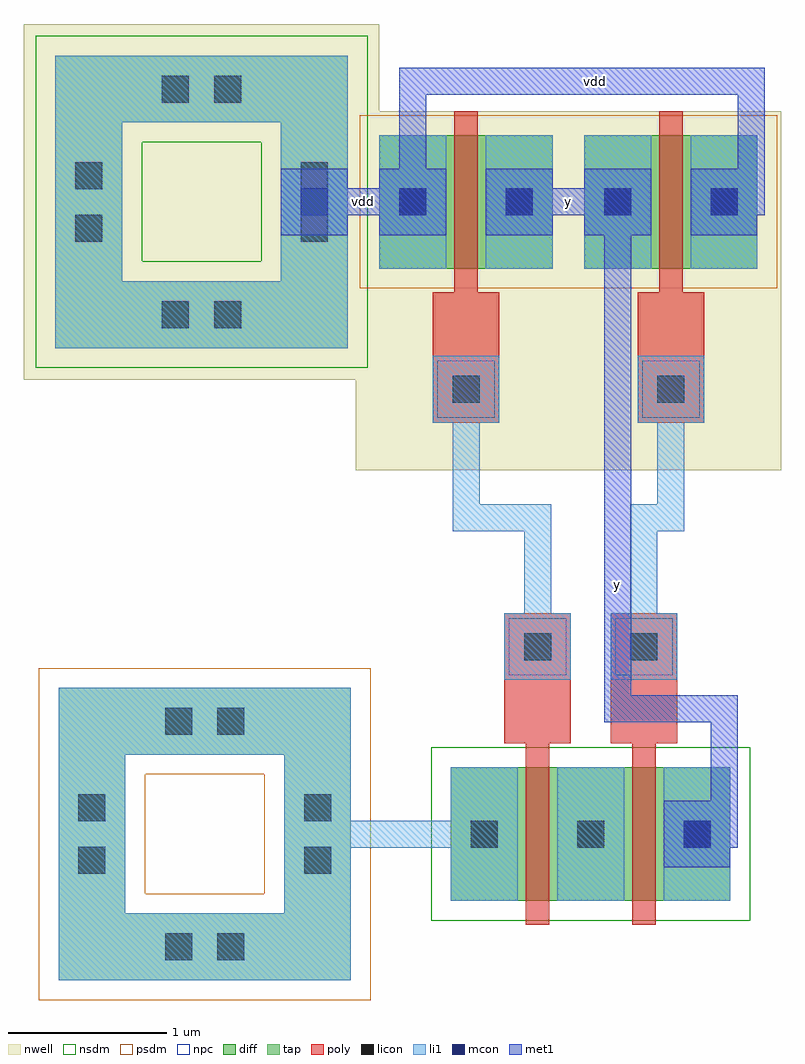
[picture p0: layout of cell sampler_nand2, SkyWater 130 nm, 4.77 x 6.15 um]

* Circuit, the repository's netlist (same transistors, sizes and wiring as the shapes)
* extracted by klt extract --deck sky130

* cell sampler_nand2
* pin a
* pin en
* pin mnab_y,mpa_y,mpb_y,y
* pin mpa_py,mpb_py,nwell_vdd,vdd
* pin vss
.SUBCKT sampler_nand2 a en mnab_y|mpa_y|mpb_y|y mpa_py|mpb_py|nwell_vdd|vdd vss
* device instance $1 r0 *1 4.035,0.21 nfet
M$1 \$2 en vss vss nfet L=0.15U W=0.84U AS=0.3948P AD=0.2184P PS=2.62U PD=1.36U
* device instance $2 r0 *1 4.705,0.21 nfet
M$2 mnab_y|mpa_y|mpb_y|y a \$2 vss nfet L=0.15U W=0.84U AS=0.2184P AD=0.3948P
+ PS=1.36U PD=2.62U
* device instance $3 r0 *1 3.585,4.19 pfet
M$3 mnab_y|mpa_y|mpb_y|y en mpa_py|mpb_py|nwell_vdd|vdd
+ mpa_py|mpb_py|nwell_vdd|vdd pfet L=0.15U W=0.84U AS=0.3948P AD=0.3948P
+ PS=2.62U PD=2.62U
* device instance $4 r0 *1 4.875,4.19 pfet
M$4 mpa_py|mpb_py|nwell_vdd|vdd a mnab_y|mpa_y|mpb_y|y
+ mpa_py|mpb_py|nwell_vdd|vdd pfet L=0.15U W=0.84U AS=0.3948P AD=0.3948P
+ PS=2.62U PD=2.62U
.ENDS sampler_nand2

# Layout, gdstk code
from math import pi, radians
import gdstk
lib = gdstk.Library(unit=1e-6, precision=1e-09)
def R(c, l, rs):  # rectangles x0, y0, x1, y1
    for r in rs: c.add(gdstk.rectangle(r[:2], r[2:], *l))
def A(c, l, x, y, w, h, nx, ny, dx, dy):  # array of equal rectangles
    R(c, l, [(x+i*dx, y+j*dy, x+i*dx+w, y+j*dy+h) for i in range(nx) for j in range(ny)])
def P(c, l, *ps):  # polygons
    for p in ps: c.add(gdstk.Polygon(p, *l))
nwell = (64, 20)
diff = (65, 20)
tap = (65, 44)
poly = (66, 20)
licon = (66, 44)
li1 = (67, 20)
mcon = (67, 44)
met1 = (68, 20)
nsdm = (93, 44)
psdm = (94, 20)
npc = (95, 20)

mos_array_2 = lib.new_cell('mos_array$2')
R(mos_array_2, diff, [(0,0,1.76,0.84)])
R(mos_array_2, poly, [(0.47,-0.15,0.62,0.84), (1.14,-0.15,1.29,0.84), (0.47,0.84,0.62,0.99), (0.47,0.84,0.62,0.99), (1.14,0.84,1.29,0.99), (1.14,0.84,1.29,0.99), (0.335,0.99,0.755,1.81), (1.005,0.99,1.425,1.81)])
A(mos_array_2, licon, 0.125, 0.335, 0.17, 0.17, 3, 1, 0.67, 0)
R(mos_array_2, licon, [(0.46,1.515,0.63,1.685), (1.13,1.515,1.3,1.685)])
A(mos_array_2, li1, 0, 0, 0.42, 0.84, 3, 1, 0.67, 0)
R(mos_array_2, li1, [(0.335,1.39,0.755,1.81), (1.005,1.39,1.425,1.81)])
R(mos_array_2, nsdm, [(-0.125,-0.125,1.885,0.965)])
R(mos_array_2, npc, [(0.365,1.42,0.725,1.78), (1.035,1.42,1.395,1.78)])

mnab__mnab = lib.new_cell('mnab__mnab')
mnab__mnab.add(gdstk.Reference(mos_array_2, (0,0)))

guard_ring_1 = lib.new_cell('guard_ring$1')
P(guard_ring_1, tap, [(0,0),(0,1.42),(0.42,1.42),(0.42,0.42),(1.42,0.42),(1.42,1.42),(0,1.42),(0,1.84),(1.84,1.84),(1.84,0)])
R(guard_ring_1, licon, [(0.67,0.125,0.84,0.295), (1,0.125,1.17,0.295), (0.125,0.67,0.295,0.84), (1.545,0.67,1.715,0.84), (0.125,1,0.295,1.17), (1.545,1,1.715,1.17), (0.67,1.545,0.84,1.715), (1,1.545,1.17,1.715)])
P(guard_ring_1, li1, [(0,0),(0,1.42),(0.42,1.42),(0.42,0.42),(1.42,0.42),(1.42,1.42),(0,1.42),(0,1.84),(1.84,1.84),(1.84,0)])
P(guard_ring_1, psdm, [(-0.125,-0.125),(-0.125,1.295),(0.545,1.295),(0.545,0.545),(1.295,0.545),(1.295,1.295),(-0.125,1.295),(-0.125,1.965),(1.965,1.965),(1.965,-0.125)])

psub_tap__psub_tap = lib.new_cell('psub_tap__psub_tap')
psub_tap__psub_tap.add(gdstk.Reference(guard_ring_1, (0,0)))

mos_array_1 = lib.new_cell('mos_array$1')
R(mos_array_1, nwell, [(-0.15,-0.15,1.24,2.11)])
R(mos_array_1, diff, [(0,0,1.09,0.84)])
R(mos_array_1, poly, [(0.47,-0.15,0.62,0.84), (0.47,0.84,0.62,0.99), (0.47,0.84,0.62,0.99), (0.335,0.99,0.755,1.81)])
R(mos_array_1, licon, [(0.125,0.335,0.295,0.505), (0.795,0.335,0.965,0.505), (0.46,1.515,0.63,1.685)])
R(mos_array_1, li1, [(0,0,0.42,0.84), (0.67,0,1.09,0.84), (0.335,1.39,0.755,1.81)])
R(mos_array_1, psdm, [(-0.125,-0.125,1.215,0.965)])
R(mos_array_1, npc, [(0.365,1.42,0.725,1.78)])

mpb__mpb = lib.new_cell('mpb__mpb')
mpb__mpb.add(gdstk.Reference(mos_array_1, (0,0)))

mos_array = lib.new_cell('mos_array')
R(mos_array, nwell, [(-0.15,-0.15,1.24,2.11)])
R(mos_array, diff, [(0,0,1.09,0.84)])
R(mos_array, poly, [(0.47,-0.15,0.62,0.84), (0.47,0.84,0.62,0.99), (0.47,0.84,0.62,0.99), (0.335,0.99,0.755,1.81)])
R(mos_array, licon, [(0.125,0.335,0.295,0.505), (0.795,0.335,0.965,0.505), (0.46,1.515,0.63,1.685)])
R(mos_array, li1, [(0,0,0.42,0.84), (0.67,0,1.09,0.84), (0.335,1.39,0.755,1.81)])
R(mos_array, psdm, [(-0.125,-0.125,1.215,0.965)])
R(mos_array, npc, [(0.365,1.42,0.725,1.78)])

mpa__mpa = lib.new_cell('mpa__mpa')
mpa__mpa.add(gdstk.Reference(mos_array, (0,0)))

guard_ring = lib.new_cell('guard_ring')
R(guard_ring, nwell, [(-0.2,-0.2,2.04,2.04)])
P(guard_ring, tap, [(0,0),(0,1.42),(0.42,1.42),(0.42,0.42),(1.42,0.42),(1.42,1.42),(0,1.42),(0,1.84),(1.84,1.84),(1.84,0)])
R(guard_ring, licon, [(0.67,0.125,0.84,0.295), (1,0.125,1.17,0.295), (0.125,0.67,0.295,0.84), (1.545,0.67,1.715,0.84), (0.125,1,0.295,1.17), (1.545,1,1.715,1.17), (0.67,1.545,0.84,1.715), (1,1.545,1.17,1.715)])
P(guard_ring, li1, [(0,0),(0,1.42),(0.42,1.42),(0.42,0.42),(1.42,0.42),(1.42,1.42),(0,1.42),(0,1.84),(1.84,1.84),(1.84,0)])
P(guard_ring, nsdm, [(-0.125,-0.125),(-0.125,1.295),(0.545,1.295),(0.545,0.545),(1.295,0.545),(1.295,1.295),(-0.125,1.295),(-0.125,1.965),(1.965,1.965),(1.965,-0.125)])

nwell_tap__nwell_tap = lib.new_cell('nwell_tap__nwell_tap')
nwell_tap__nwell_tap.add(gdstk.Reference(guard_ring, (0,0)))

core__core = lib.new_cell('core__core')
R(core__core, li1, [(3.825,1.39,4.245,1.56), (4.495,1.39,4.915,1.56), (3.375,2.84,3.795,3.01), (4.665,2.84,5.085,3.01)])
core__core.add(gdstk.FlexPath([(3.585,3.01),(3.585,2.2),(4.035,2.2),(4.035,1.39)], 0.17, ends="flush", simple_path=True, layer=67, datatype=20))  # li1
core__core.add(gdstk.FlexPath([(4.875,3.01),(4.875,2.2),(4.705,2.2),(4.705,1.39)], 0.17, ends="flush", simple_path=True, layer=67, datatype=20))  # li1
core__core.add(gdstk.FlexPath([(2.65,0.21),(3.7,0.21)], 0.17, ends="flush", simple_path=True, layer=67, datatype=20))  # li1
core__core.add(gdstk.Reference(mnab__mnab, (3.49,-0.21)))
core__core.add(gdstk.Reference(psub_tap__psub_tap, (1.02,-0.71)))
core__core.add(gdstk.Reference(mpb__mpb, (5.42,4.61), rotation=pi))
core__core.add(gdstk.Reference(mpa__mpa, (3.04,4.61), x_reflection=True))
core__core.add(gdstk.Reference(nwell_tap__nwell_tap, (1,3.27)))
core__core.add(gdstk.Label('en', (3.81,2.2), layer=67, texttype=5))
core__core.add(gdstk.Label('a', (4.79,2.2), layer=67, texttype=5))
core__core.add(gdstk.Label('vss', (3.175,0.21), layer=67, texttype=5))
core__core.add(gdstk.Label('nwell_vdd', (2.63,4.19), layer=67, texttype=5))
core__core.add(gdstk.Label('mpa_py', (3.25,4.19), layer=67, texttype=5))
core__core.add(gdstk.Label('mpb_py', (5.21,4.19), layer=67, texttype=5))
core__core.add(gdstk.Label('mpa_y', (3.92,4.19), layer=67, texttype=5))
core__core.add(gdstk.Label('mpb_y', (4.54,4.19), layer=67, texttype=5))
core__core.add(gdstk.Label('mnab_y', (5.04,0.21), layer=67, texttype=5))

sampler_nand2 = lib.new_cell('sampler_nand2')
R(sampler_nand2, li1, [(4.83,0,5.25,0.42), (2.42,3.98,2.84,4.4), (3.04,3.98,3.46,4.4), (3.04,3.98,3.46,4.4), (3.71,3.98,4.13,4.4), (4.33,3.98,4.75,4.4), (4.33,3.98,4.75,4.4), (5,3.98,5.42,4.4)])
R(sampler_nand2, mcon, [(4.955,0.125,5.125,0.295), (2.545,4.105,2.715,4.275), (3.165,4.105,3.335,4.275), (3.165,4.105,3.335,4.275), (3.835,4.105,4.005,4.275), (4.455,4.105,4.625,4.275), (4.455,4.105,4.625,4.275), (5.125,4.105,5.295,4.275)])
R(sampler_nand2, met1, [(4.83,0,5.25,0.42), (2.42,3.98,2.84,4.4), (3.04,3.98,3.46,4.4), (3.04,3.98,3.46,4.4), (3.71,3.98,4.13,4.4), (4.33,3.98,4.75,4.4), (4.33,3.98,4.75,4.4), (5,3.98,5.42,4.4)])
sampler_nand2.add(gdstk.FlexPath([(2.63,4.19),(3.25,4.19)], 0.17, ends="flush", simple_path=True, layer=68, datatype=20))  # met1
sampler_nand2.add(gdstk.FlexPath([(3.25,4.19),(3.25,4.95),(5.38,4.95),(5.38,4.19),(5.21,4.19)], 0.17, ends="flush", simple_path=True, layer=68, datatype=20))  # met1
sampler_nand2.add(gdstk.FlexPath([(3.92,4.19),(4.54,4.19)], 0.17, ends="flush", simple_path=True, layer=68, datatype=20))  # met1
sampler_nand2.add(gdstk.FlexPath([(4.54,4.19),(4.54,1),(5.21,1),(5.21,0.21),(5.04,0.21)], 0.17, ends="flush", simple_path=True, layer=68, datatype=20))  # met1
sampler_nand2.add(gdstk.Reference(core__core, (0,0)))
sampler_nand2.add(gdstk.Label('vdd', (2.94,4.19), layer=68, texttype=5))
sampler_nand2.add(gdstk.Label('vdd', (4.4,4.95), layer=68, texttype=5))
sampler_nand2.add(gdstk.Label('y', (4.23,4.19), layer=68, texttype=5))
sampler_nand2.add(gdstk.Label('y', (4.54,1.78), layer=68, texttype=5))

lib.write_gds('sampler_nand2.gds')
